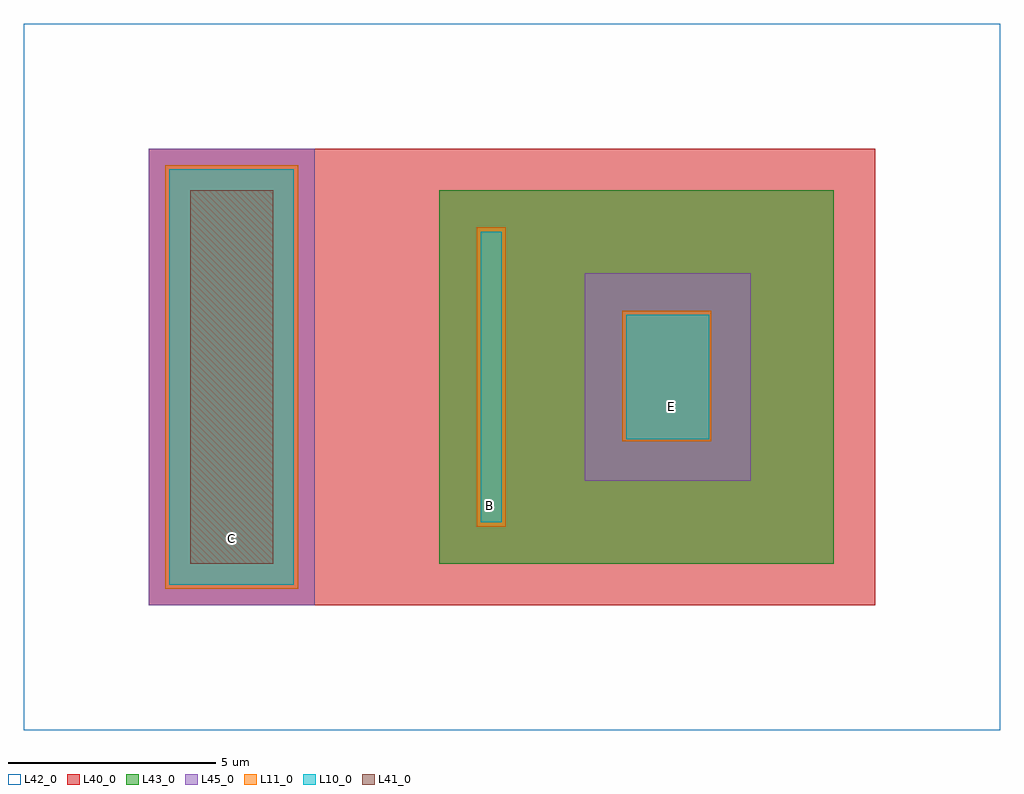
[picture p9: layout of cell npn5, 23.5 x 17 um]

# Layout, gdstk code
import gdstk
lib = gdstk.Library(unit=1e-6, precision=1e-09)
def R(c, l, rs):  # rectangles x0, y0, x1, y1
    for r in rs: c.add(gdstk.rectangle(r[:2], r[2:], *l))
L10_0 = (10, 0)
L11_0 = (11, 0)
L40_0 = (40, 0)
L41_0 = (41, 0)
L42_0 = (42, 0)
L43_0 = (43, 0)
L45_0 = (45, 0)

npn5 = lib.new_cell('npn5')
R(npn5, L10_0, [(3.5,3.5,6.5,13.5), (11,5,11.5,12), (14.5,7,16.5,10)])
R(npn5, L11_0, [(3.4,3.4,6.6,13.6), (10.9,4.9,11.6,12.1), (14.4,6.95,16.55,10.1)])
R(npn5, L40_0, [(3,3,20.5,14)])
R(npn5, L41_0, [(4,4,6,13)])
R(npn5, L42_0, [(0,0,23.5,17)])
R(npn5, L43_0, [(10,4,19.5,13)])
R(npn5, L45_0, [(3,3,7,14), (13.5,6,17.5,11)])
npn5.add(gdstk.Label('E', (15.6,7.8), layer=11, texttype=0))
npn5.add(gdstk.Label('C', (5,4.6), layer=11, texttype=0))
npn5.add(gdstk.Label('B', (11.2,5.4), layer=11, texttype=0))

lib.write_gds('npn5.gds')
